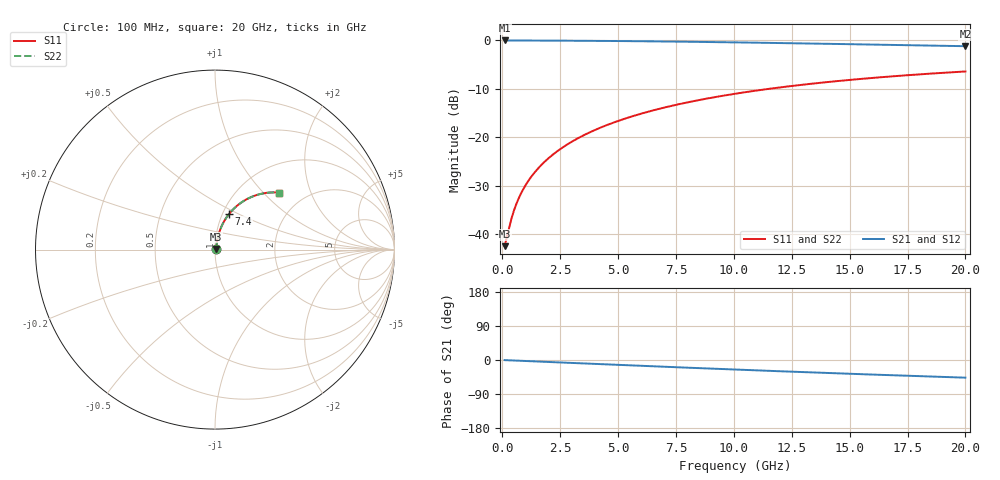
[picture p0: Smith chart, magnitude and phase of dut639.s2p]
! Touchstone file exported from HFSS 2026.1.0
!  File:  C:/ffzhzh/LocalFiles/Ansys_Project_Files/temp_train_BSMRDL_639_1783016736_51716.aedt
!  Generated:  02:26:59 AM Jul  3, 2026
!  Design:  BSMRDL
!  Project:  temp_train_BSMRDL_639_1783016736_51716
! Variables:
!  h_bsmrdl = 2.03um
!  h_ox = 20um
!  h_rdl = 5um
!  h_sub = 80um
!  h_tmrdl = 5um
!  h_tsv = 80um
!  h_via = 3um
!  l_bsmrdl = 645.77um
!  l_sub = 1045.77um
!  l_tmrdl = 200um
!  m_sub = 200um
!  pitch = 46.29um
!  r_tsv = 6um
!  s_tmrdl = 10um
!  w_bsmrdl = 17.03um
!  w_sub = 500um
!  w_tmrdl = 12um
!  x_tsv_center1 = 206um
!  x_tsv_center2 = 868.8um
!  x_tsv_center3 = 1080.8um
!  x_tsv_center4 = 1743.6um
!  x_tsv_center5 = 1955.6um
!  x_tsv_center6 = 2618.4um
# GHz S MA R 50.000000
! Terminal data exported
! Port[1] = BSM_RDL1_1_T1
! Port[2] = BSM_RDL1_1_T2
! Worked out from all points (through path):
!   200 points, 100 MHz to 20 GHz, reference 50 ohm
!   highest |S21| = -0.06 dB at 100 MHz (marker M1); lowest = -1.2 dB at 20 GHz (marker M2)
!   group delay of S21, straight-line fit = 6.49 ps
!   lowest |S11| = -42.5 dB at 100 MHz (marker M3), VSWR 1.02, Z = 50.7 + j0.324 ohm
!   |S11| at or under -10 dB: start of sweep to 11.57 GHz
!   |S22| runs from -42.5 to -6.5 dB; largest |S21 - S12| = 3.3e-15
!   S11 on the Smith chart (normalised r, x): 100 MHz: 1.01, +0.01; 7.4 GHz: 1.07, +0.45; 20 GHz: 1.49, +1.23
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0.1  0.007534 25.1  0.9932 -0.3  0.9932 -0.3  0.007534 25.1
! Gamma 0 0 0 0
! Port Impedance 50 0 50 0
0.3  0.0119 53.1  0.9929 -0.8  0.9929 -0.8  0.0119 53.1
0.4  0.01462 59.6  0.9928 -1.1  0.9928 -1.1  0.01462 59.6
0.5  0.01745 63.9  0.9926 -1.3  0.9926 -1.3  0.01745 63.9
0.6  0.02032 66.8  0.9923 -1.6  0.9923 -1.6  0.02032 66.8
0.7  0.02321 68.9  0.9921 -1.9  0.9921 -1.9  0.02321 68.9
0.9  0.02899 71.8  0.9917 -2.4  0.9917 -2.4  0.02899 71.8
1.2  0.03766 74.3  0.9911 -3.2  0.9911 -3.2  0.03766 74.2
1.4  0.04344 75.2  0.9907 -3.7  0.9907 -3.7  0.04344 75.2
1.7  0.05213 76.1  0.9902 -4.4  0.9902 -4.4  0.05213 76.1
2.2  0.06663 76.8  0.9891 -5.7  0.9891 -5.7  0.06663 76.7
2.8  0.08403 76.7  0.9876 -7.3  0.9876 -7.3  0.08403 76.7
3.5  0.1043 76.0  0.9855 -9.0  0.9855 -9.0  0.1043 76.0
4.2  0.1243 74.9  0.9831 -10.8  0.9831 -10.8  0.1243 74.9
5  0.147 73.5  0.9798 -12.8  0.9798 -12.8  0.147 73.5
6.8  0.1967 69.8  0.9707 -17.3  0.9707 -17.3  0.1967 69.8
7.4  0.2128 68.5  0.9672 -18.8  0.9672 -18.8  0.2128 68.5
8.7  0.2466 65.7  0.9588 -22.0  0.9588 -22.0  0.2467 65.6
10.1  0.2815 62.6  0.9489 -25.3  0.9489 -25.3  0.2815 62.5
13.4  0.3567 55.3  0.9227 -32.8  0.9227 -32.8  0.3567 55.3
16.7  0.4214 48.4  0.8946 -39.9  0.8946 -39.9  0.4214 48.4
20  0.4758 41.9  0.8667 -46.6  0.8667 -46.6  0.4758 41.9
